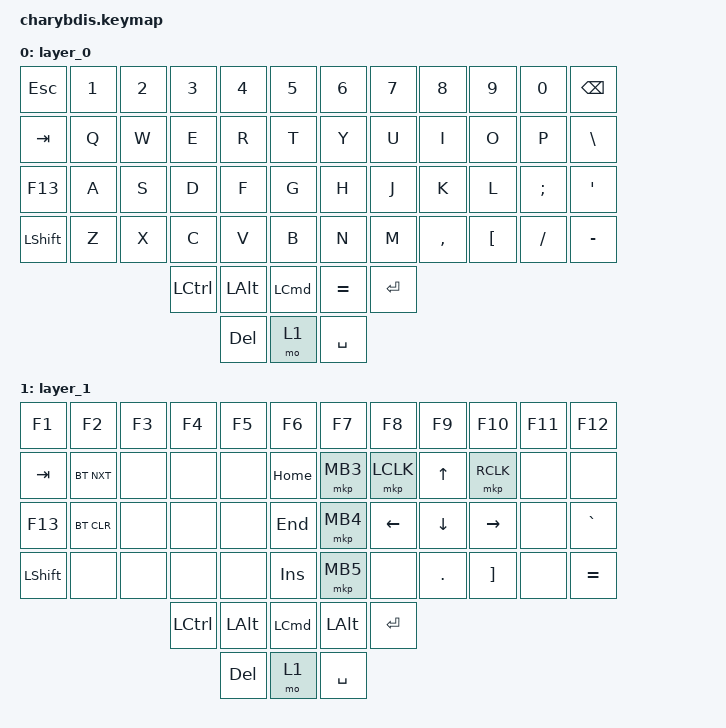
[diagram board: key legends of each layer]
#include <dt-bindings/zmk/mouse.h>
#include <behaviors.dtsi>
#include <dt-bindings/zmk/bt.h>
#include <dt-bindings/zmk/keys.h>
#include <dt-bindings/zmk/pointing.h>

&lt {
    tapping-term-ms = <200>;
    flavor = "balanced";
    quick-tap-ms = <150>;
};

/ {
    keymap {
        compatible = "zmk,keymap";

        layer_0 {
            bindings = <
&kp ESC         &kp N1  &kp N2  &kp N3     &kp N4    &kp N5              &kp N6     &kp N7     &kp N8     &kp N9            &kp N0    &kp BACKSPACE
&kp TAB         &kp Q   &kp W   &kp E      &kp R     &kp T               &kp Y      &kp U      &kp I      &kp O             &kp P     &kp BSLH
&kp F13         &kp A   &kp S   &kp D      &kp F     &kp G               &kp H      &kp J      &kp K      &kp L             &kp SEMI  &kp SQT
&kp LEFT_SHIFT  &kp Z   &kp X   &kp C      &kp V     &kp B               &kp N      &kp M      &kp COMMA  &kp LEFT_BRACKET  &kp FSLH  &kp MINUS
                                &kp LCTRL  &kp LALT  &kp LEFT_COMMAND    &kp EQUAL  &kp ENTER
                                           &kp DEL   &mo 1               &kp SPACE
            >;

            trackball-bindings = <&tmv_coarse>;
        };

        layer_1 {
            bindings = <
&kp F1      &kp F2      &kp F3  &kp F4     &kp F5    &kp F6              &kp F7     &kp F8      &kp F9      &kp F10            &kp F11  &kp F12
&kp TAB     &bt BT_NXT  &none   &none      &none     &kp HOME            &mkp MB3   &mkp LCLK   &kp UP      &mkp RCLK          &none    &none
&kp F13     &bt BT_CLR  &none   &none      &none     &kp END             &mkp MB4   &kp LEFT    &kp DOWN    &kp RIGHT          &none    &kp GRAVE
&kp LSHIFT  &none       &none   &none      &none     &kp INS             &mkp MB5   &none       &kp PERIOD  &kp RIGHT_BRACKET  &none    &kp EQUAL
                                &kp LCTRL  &kp LALT  &kp LEFT_COMMAND    &kp LALT   &kp RETURN
                                           &kp DEL   &mo 1               &kp SPACE
            >;

            trackball-bindings = <&tsl>;
        };

        /* layer_2 {
            bindings = <
&none  &none   &none    &none   &none         &none         &kp N1         &none         &none     &none  &none   &to 0
&none  &none   &none    &none   &none         &none         &none         &none          &rgb_ug RGB_BRD &rgb_ug RGB_BRI  &rgb_ug RGB_EFF   &rgb_ug RGB_TOG
&none  &none   &none    &none   &none         &none         &none         &mkp LCLK     &mkp RCLK  &none  &none   &none
&none  &none   &none    &none   &bt BT_NXT  &bt BT_CLR    &none         &none         &none     &none  &none   &none
                                   &none         &none         &none         &none         &none
                                                 &none         &none         &none
            >;
          trackball-bindings = <&tsl>;
            
        };

       Mouse {
            bindings = <
&none        &none         &none         &none         &none      &none         &none       &none      &none         &none         &none         &none
&none        &bt BT_SEL 0  &bt BT_SEL 1  &bt BT_SEL 3  &none      &bt BT_CLR    &bt BT_CLR  &none      &bt BT_SEL 2  &bt BT_SEL 1  &bt BT_SEL 0  &none
&none        &trans        &trans        &mkp MCLK     &trans     &none         &none       &trans     &mkp MCLK     &trans        &trans        &none
&bootloader  &trans        &mkp RCLK     &mo 4         &mkp LCLK  &mo 5         &mo 5       &mkp LCLK  &mo 4         &mkp RCLK     &trans        &bootloader
                                         &mo 5         &mkp LCLK  &mkp RCLK     &mkp RCLK   &mkp LCLK
                                                       &none      &trans        &trans
            >;

            
        };

        layer_4 {
            bindings = <
&trans  &trans  &trans     &trans     &trans     &trans       &trans     &trans     &trans     &trans     &trans  &trans
&trans  &trans  &trans     &trans     &trans     &trans       &trans     &trans     &trans     &trans     &trans  &trans
&trans  &trans  &trans     &mkp MCLK  &trans     &trans       &trans     &trans     &mkp MCLK  &trans     &trans  &trans
&trans  &trans  &mkp RCLK  &trans     &mkp LCLK  &trans       &trans     &mkp LCLK  &trans     &mkp RCLK  &trans  &trans
                           &trans     &mkp LCLK  &mkp RCLK    &mkp RCLK  &mkp LCLK
                                      &trans     &trans       &trans
            >;
                
                
                trackball-bindings = <&tsl>;
        };

        layer_5 {
            bindings = <
&trans  &trans  &trans     &trans     &trans     &trans       &trans     &trans     &trans     &trans     &trans  &trans
&trans  &trans  &trans     &trans     &trans     &trans       &trans     &trans     &trans     &trans     &trans  &trans
&trans  &trans  &trans     &mkp MCLK  &trans     &trans       &trans     &trans     &mkp MCLK  &trans     &trans  &trans
&trans  &trans  &mkp RCLK  &trans     &mkp LCLK  &trans       &trans     &mkp LCLK  &trans     &mkp RCLK  &trans  &trans
                           &trans     &mkp LCLK  &mkp RCLK    &mkp RCLK  &mkp LCLK
                                      &trans     &trans       &trans
            >;
                trackball-bindings = <&tmv_fine>;
                
        };*/
    };
};
